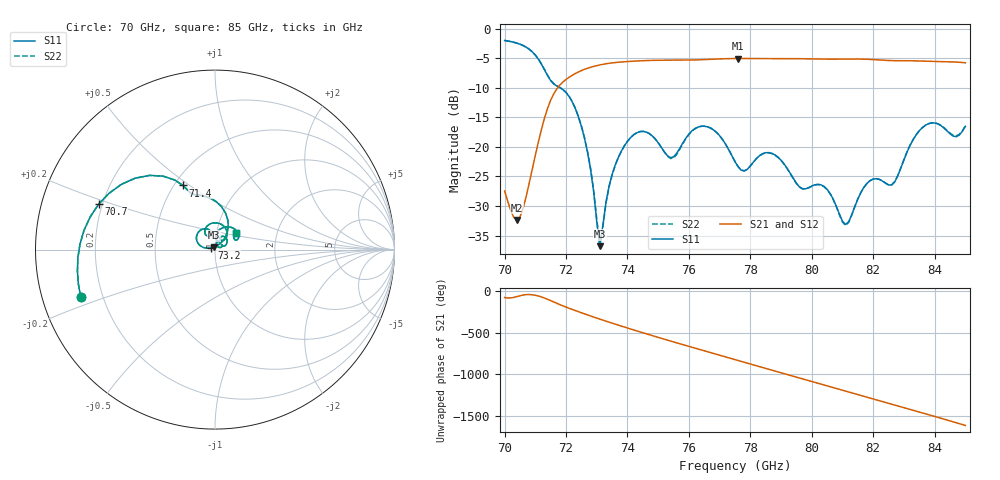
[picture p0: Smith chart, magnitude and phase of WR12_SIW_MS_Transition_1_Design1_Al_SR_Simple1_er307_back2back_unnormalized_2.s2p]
! Touchstone file exported from HFSS 2020.1.3
!  File:  /home/erdoel/scratch/P2S30/WR12_SIW_MS_Transition_1.aedt
!  Generated:  8:31:25 AM  Feb 20, 2021
!  Design:  Design1_Al_SR_Simple1_er307_back2back
!  Project:  WR12_SIW_MS_Transition_1
!  Setup:  Setup1
!  Solution:  Sweep
! Variables:
!  T_L2 = 35um
!  fil = 0.3mm
!  hm = 0.36mm
!  hsub = 0.127mm
!  hwg = 1.55mm
!  l1 = 1.05mm
!  lcav = 1.92mm
!  len50 = 12.805mm
!  lt = 0.7mm
!  offx = 0um
!  offy = 0um
!  rvia = 0.075mm
!  s1 = 1.33mm
!  shift = 20um
!  sl = 3.1mm
!  sy = 0.65mm
!  th = 35um
!  w1 = 1.17mm
!  w50 = 300um
!  wcav = 3.45mm
!  wm = 1.9mm
!  wslot = 1.5mm
!  wt = 0.6mm
!  wwg = 3.1mm
!Data is not renormalized
# GHZ S MA
! Terminal data exported
! Port[1] = WG
! Port[2] = WG1
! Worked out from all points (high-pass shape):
!   151 points, 70 GHz to 85 GHz, reference per port
!   highest |S21| = -5.06 dB at 77.6 GHz (marker M1); lowest = -32.4 dB at 70.4 GHz (marker M2)
!   |S21| within 3 dB of the highest: 72.15 GHz to end of sweep
!   lowest |S11| = -36.8 dB at 73.1 GHz (marker M3), VSWR 1.03
!   |S11| at or under -10 dB: 71.8 GHz to end of sweep
!   |S22| runs from -36.6 to -2.0 dB; largest |S21 - S12| = 9.9e-15
!   S11 on the Smith chart (normalised r, x): 70 GHz: 0.12, -0.17; 70.7 GHz: 0.19, +0.18; 71.4 GHz: 0.55, +0.47; 73.2 GHz: 0.96, +0.02; 85 GHz: 1.23, +0.24
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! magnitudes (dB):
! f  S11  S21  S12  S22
! 70 GHz  -2.0  -27.5  -27.5  -2.0
! 70.4 GHz  -2.5  -32.4  -32.4  -2.5
! 70.7 GHz  -3.1  -28.4  -28.4  -3.1
! 71.4 GHz  -8.0  -13.5  -13.5  -7.9
! 72.5 GHz  -16.5  -7.1  -7.1  -16.5
! 72.8 GHz  -23.9  -6.5  -6.5  -23.7
! 73.1 GHz  -36.8  -6.1  -6.1  -36.6
! 73.2 GHz  -33.3  -6.0  -6.0  -33.5
! 73.5 GHz  -24.7  -5.8  -5.8  -24.7
! 73.9 GHz  -19.8  -5.6  -5.6  -19.8
! 75 GHz  -19.3  -5.4  -5.4  -19.3
! 75.5 GHz  -21.7  -5.3  -5.3  -21.9
! 76.6 GHz  -16.6  -5.2  -5.2  -16.6
! 77.5 GHz  -22.5  -5.1  -5.1  -22.5
! 77.6 GHz  -23.4  -5.1  -5.1  -23.3
! 78.7 GHz  -21.1  -5.1  -5.1  -21.1
! 80 GHz  -26.6  -5.1  -5.1  -26.7
! 81.1 GHz  -33.1  -5.1  -5.1  -33.3
! 81.8 GHz  -26.2  -5.2  -5.2  -26.2
! 82.5 GHz  -26.4  -5.4  -5.4  -26.4
! 83.7 GHz  -16.4  -5.5  -5.5  -16.3
! 85 GHz  -16.5  -5.8  -5.8  -16.4
